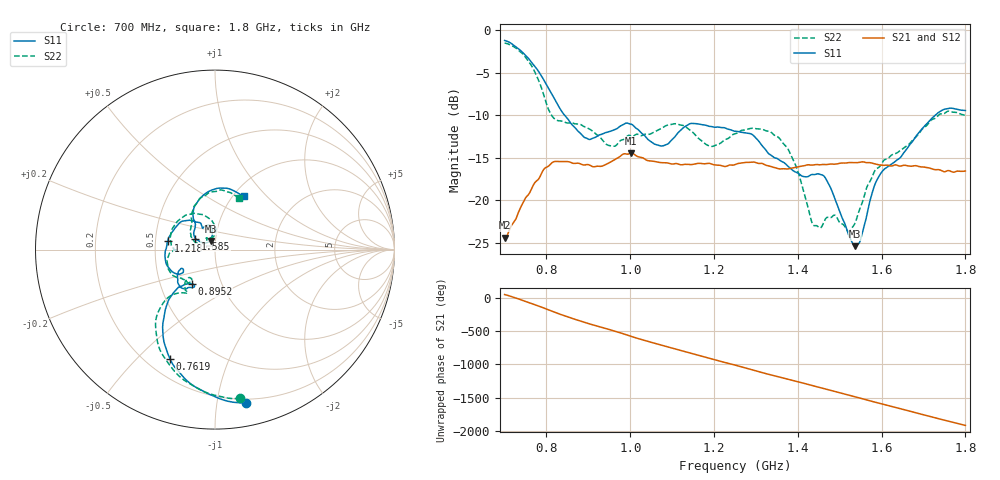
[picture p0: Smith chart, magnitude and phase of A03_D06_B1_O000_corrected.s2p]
! Created with skrf 1.9.0 (http://scikit-rf.org).
# Hz S RI R 50.0
!freq ReS11 ImS11 ReS21 ImS21 ReS12 ImS12 ReS22 ImS22
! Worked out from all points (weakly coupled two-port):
!   1601 points, 700 MHz to 1.8 GHz, reference 50 ohm
!   highest |S21| = -14.48 dB at 1.002 GHz (marker M1); lowest = -24.4 dB at 700.7 MHz (marker M2)
!   lowest |S11| = -25.4 dB at 1.536 GHz (marker M3), VSWR 1.11, Z = 47.4 + j4.5 ohm
!   |S11| at or under -10 dB: 843.3 MHz to 1.728 GHz (884.5 MHz wide, 68.8 % of centre)
!   |S22| runs from -23.7 to -1.5 dB; largest |S21 - S12| = 0.0034
!   S11 on the Smith chart (normalised r, x): 700 MHz: 0.17, -1.21; 761.9 MHz: 0.29, -0.63; 895.2 MHz: 0.72, -0.29; 1.218 GHz: 0.58, +0.06; 1.585 GHz: 0.80, +0.10; 1.8 GHz: 1.11, +0.75
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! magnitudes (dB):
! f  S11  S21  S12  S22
! 700 MHz  -1.2  -24.4  -24.2  -1.5
! 700.7 MHz  -1.2  -24.4  -24.1  -1.5
! 761.9 MHz  -3.6  -18.9  -18.9  -4.0
! 816.2 MHz  -7.8  -15.5  -15.6  -10.3
! 883.6 MHz  -12.3  -15.8  -15.7  -11.2
! 895.2 MHz  -12.7  -15.8  -15.9  -11.5
! 953.7 MHz  -11.9  -15.5  -15.5  -13.6
! 1.002 GHz  -11.1  -14.5  -14.6  -12.5
! 1.067 GHz  -13.5  -15.5  -15.5  -11.7
! 1.143 GHz  -11.0  -15.8  -15.8  -11.8
! 1.218 GHz  -11.5  -15.9  -16.0  -13.2
! 1.25 GHz  -11.9  -15.8  -15.7  -12.2
! 1.357 GHz  -15.3  -16.3  -16.3  -12.8
! 1.396 GHz  -16.7  -16.1  -16.1  -16.0
! 1.434 GHz  -17.0  -15.9  -15.8  -22.6
! 1.468 GHz  -17.6  -15.8  -15.8  -22.1
! 1.536 GHz  -25.4  -15.6  -15.6  -22.8
! 1.55 GHz  -24.5  -15.5  -15.5  -20.7
! 1.585 GHz  -18.1  -15.8  -15.8  -16.5
! 1.617 GHz  -16.0  -15.9  -15.9  -15.0
! 1.735 GHz  -9.7  -16.4  -16.5  -10.0
! 1.8 GHz  -9.4  -16.6  -16.6  -10.0
